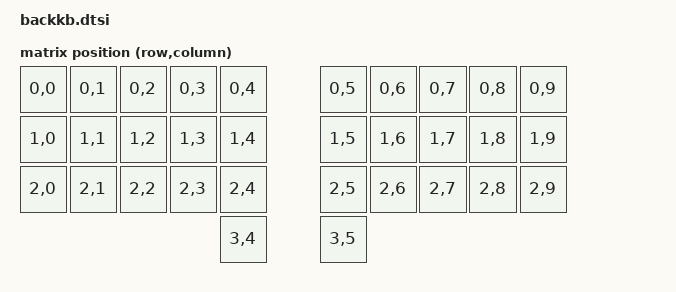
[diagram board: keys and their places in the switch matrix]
#include <dt-bindings/zmk/matrix_transform.h>
#include <zephyr/dt-bindings/input/input-event-codes.h>

/ {
    chosen {
        zmk,kscan = &kscan0;
        zmk,physical-layout = &default_layout;
    };

    /*
     * MATRIX kscan. Converting from direct-wire frees GPIO for the
     * analog sticks + encoders.
     *
     * Per half we need to address:
     *   15 alpha/thumb keys ... wait, recount:
     *     outer[5] + home[5] + inner[5] = 15 keys
     *     + 1 thumb                     = 16 keys
     *     + 1 scroll-wheel click        = 17
     *     + 1 thumbstick click          = 18
     *   -> a 4x5 matrix = 20 cells covers 18 with 2 spare.
     *   Cost: 4 row pins + 5 col pins = 9 GPIO/side (vs 16 direct).
     *   Add 1N4148 diodes col->row (diode-direction = "col2row").
     *
     * Freed budget/side: ~16-18 usable - 9 matrix = 7-9 pins for:
     *   encoder A/B (2) + stick ADC X/Y (2) = 4. Comfortable.
     */
    kscan0: kscan_matrix {
        compatible = "zmk,kscan-gpio-matrix";
        wakeup-source;
        diode-direction = "col2row";
        /* row-gpios / col-gpios provided per-half in the .overlay */
    };

    /* Rotary encoder (scroll wheel). Native ZMK. A/B pins per half. */
    wheel: encoder_wheel {
        compatible = "alps,ec11";
        steps = <80>;
        status = "disabled";   /* enabled + given gpios in each overlay */
    };

    sensors: sensors {
        compatible = "zmk,keymap-sensors";
        sensors = <&wheel>;
        triggers-per-rotation = <20>;
    };

    /*
     * Physical layout / transform. 10 columns x 4 rows across the whole
     * keyboard for keymap ergonomics (left cols 0-4, right cols 5-9).
     * Thumb on row 3. Clicks are NOT in the visual layout (they live in
     * the matrix but are bound via the encoder/stick, not as grid keys)
     * — they're handled by behaviors, so the keymap grid stays 32.
     */
    default_layout: default_layout {
        compatible = "zmk,physical-layout";
        display-name = "backkb";
        transform = <&default_transform>;
    };

    default_transform: keymap_transform {
        compatible = "zmk,matrix-transform";
        columns = <10>;
        rows = <4>;
        map = <
RC(0,0) RC(0,1) RC(0,2) RC(0,3) RC(0,4)   RC(0,5) RC(0,6) RC(0,7) RC(0,8) RC(0,9)
RC(1,0) RC(1,1) RC(1,2) RC(1,3) RC(1,4)   RC(1,5) RC(1,6) RC(1,7) RC(1,8) RC(1,9)
RC(2,0) RC(2,1) RC(2,2) RC(2,3) RC(2,4)   RC(2,5) RC(2,6) RC(2,7) RC(2,8) RC(2,9)
                        RC(3,4)                   RC(3,5)
        >;
    };
};
